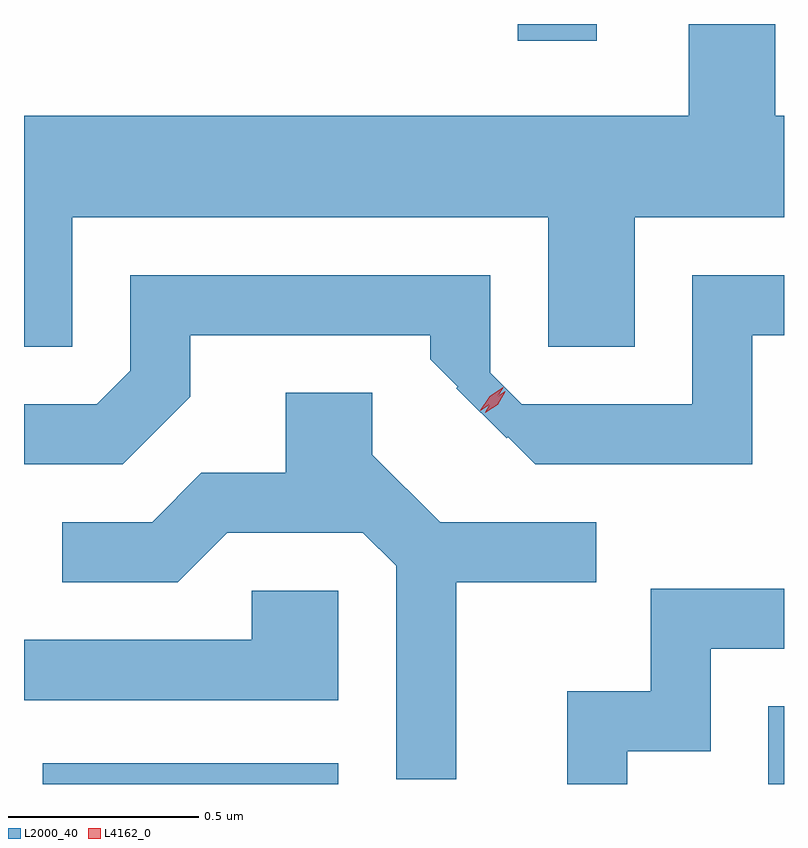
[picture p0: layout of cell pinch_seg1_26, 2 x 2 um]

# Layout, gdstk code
import gdstk
lib = gdstk.Library(unit=1e-6, precision=1e-09)
def R(c, l, rs):  # rectangles x0, y0, x1, y1
    for r in rs: c.add(gdstk.rectangle(r[:2], r[2:], *l))
def P(c, l, *ps):  # polygons
    for p in ps: c.add(gdstk.Polygon(p, *l))
L2000_40 = (2000, 40)
L4162_0 = (4162, 0)

pinch_seg1_26 = lib.new_cell('pinch_seg1_26')
R(pinch_seg1_26, L2000_40, [(1834.341,958.025,1835.119,958.079), (1836.251,958.025,1836.292,958.229), (1835.591,959.981,1835.799,960.025)])
P(pinch_seg1_26, L2000_40, [(1834.419,959.516),(1835.671,959.516),(1835.671,959.176),(1835.899,959.176),(1835.899,959.516),(1836.292,959.516),(1836.292,959.784),(1836.269,959.784),(1836.269,960.025),(1836.041,960.025),(1836.041,959.784),(1834.292,959.784),(1834.292,959.176),(1834.419,959.176)],
  [(1834.729,959.044),(1834.729,959.206),(1835.361,959.206),(1835.361,959.143),(1835.433,959.071),(1835.43,959.067),(1835.562,958.935),(1835.566,958.938),(1835.638,958.866),(1836.209,958.866),(1836.209,959.206),(1836.292,959.206),(1836.292,959.364),(1836.051,959.364),(1836.051,959.024),(1835.602,959.024),(1835.519,959.107),(1835.519,959.364),(1834.571,959.364),(1834.571,959.112),(1834.484,959.024),(1834.292,959.024),(1834.292,958.866),(1834.552,958.866)],
  [(1835.429,958.556),(1835.798,958.556),(1835.798,958.714),(1835.387,958.714),(1835.209,958.892),(1835.209,959.054),(1834.981,959.054),(1834.981,958.844),(1834.759,958.844),(1834.629,958.714),(1834.393,958.714),(1834.393,958.556),(1834.697,958.556),(1834.827,958.686),(1835.184,958.686),(1835.271,958.599),(1835.271,958.038),(1835.429,958.038)],
  [(1835.879,958.111),(1836.099,958.111),(1836.099,958.381),(1836.292,958.381),(1836.292,958.539),(1835.941,958.539),(1835.941,958.269),(1835.721,958.269),(1835.721,958.025),(1835.879,958.025)],
  [(1835.119,958.534),(1834.891,958.534),(1834.891,958.404),(1834.292,958.404),(1834.292,958.246),(1835.119,958.246)])
P(pinch_seg1_26, L4162_0, [(1835.493,959.007),(1835.493,959.008),(1835.517,959.046),(1835.555,959.07),(1835.555,959.07),(1835.555,959.07),(1835.531,959.032),(1835.493,959.007)],
  [(1835.506,959.002),(1835.506,959.003),(1835.525,959.037),(1835.558,959.058),(1835.559,959.058),(1835.559,959.057),(1835.539,959.023),(1835.506,959.002)])

lib.write_gds('pinch_seg1_26.gds')
